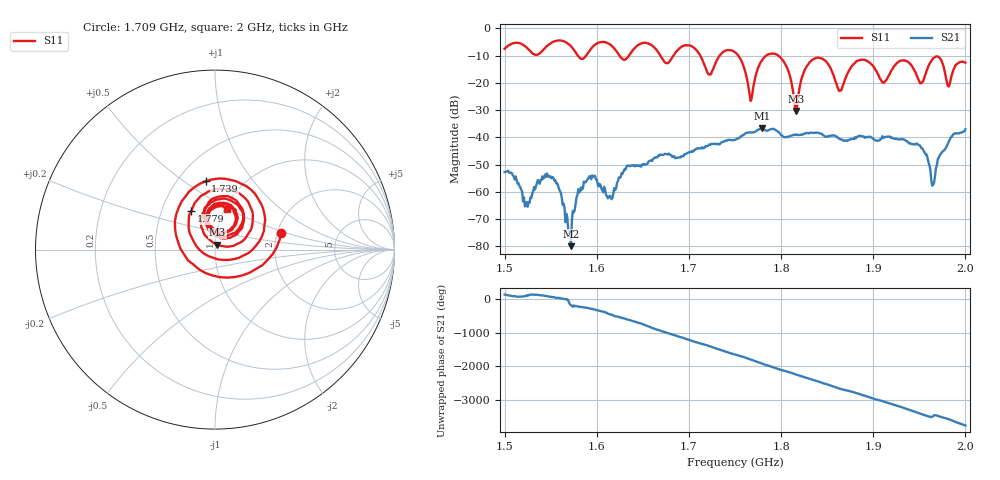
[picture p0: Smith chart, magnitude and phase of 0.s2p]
! NanoVNA-App by SYSJOINT et al v1.1.209 (+OD18)
! Date: 2026-01-21 14:19:29
! Start: 1,5GHz Stop: 2GHz Points: 501
! S-Parameter data: F S11 S21 S12 S22
# Hz S RI R 50
!  Frequency  S11_Real  S11_Imag  S21_Real  S21_Imag  S12_Real  S12_Imag  S22_Real  S22_Imag
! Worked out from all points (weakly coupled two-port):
!   501 points, 1.5 GHz to 2 GHz, reference 50 ohm
!   highest |S21| = -36.71 dB at 1.779 GHz (marker M1); lowest = -79.9 dB at 1.572 GHz (marker M2)
!   lowest |S11| = -30.3 dB at 1.816 GHz (marker M3), VSWR 1.06, Z = 51.2 + j2.83 ohm
!   |S11| at or under -10 dB: 1.712 GHz to 1.733 GHz (21.18 MHz wide, 1.23 % of centre); 1.753 GHz to 1.784 GHz (30.65 MHz wide, 1.73 % of centre); 1.797 GHz to end of sweep (the widest 3 of 6)
!   S12 and S22 are empty: the file has one direction only
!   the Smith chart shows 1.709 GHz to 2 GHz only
!   S11 on the Smith chart (normalised r, x): 1.709 GHz: 2.11, +0.46; 1.739 GHz: 0.68, +0.61; 1.779 GHz: 0.71, +0.32; 2 GHz: 1.02, +0.49
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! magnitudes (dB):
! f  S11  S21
! 1.5 GHz  -7.5  -52.7
! 1.524 GHz  -7.1  -63.7
! 1.553 GHz  -4.9  -54.8
! 1.572 GHz  -6.6  -79.9
! 1.584 GHz  -11.2  -59.1
! 1.667 GHz  -8.9  -46.6
! 1.709 GHz  -8.4  -44.0
! 1.722 GHz  -17.0  -42.6
! 1.739 GHz  -8.3  -41.3
! 1.75 GHz  -8.8  -40.9
! 1.767 GHz  -26.7  -38.2
! 1.779 GHz  -12.0  -36.7
! 1.801 GHz  -11.5  -39.3
! 1.816 GHz  -30.3  -38.9
! 1.834 GHz  -11.5  -38.3
! 1.864 GHz  -22.9  -40.7
! 1.885 GHz  -11.7  -39.4
! 1.917 GHz  -17.3  -39.8
! 1.952 GHz  -20.1  -43.9
! 1.965 GHz  -11.0  -57.3
! 1.982 GHz  -21.4  -41.5
! 2 GHz  -12.6  -37.1
